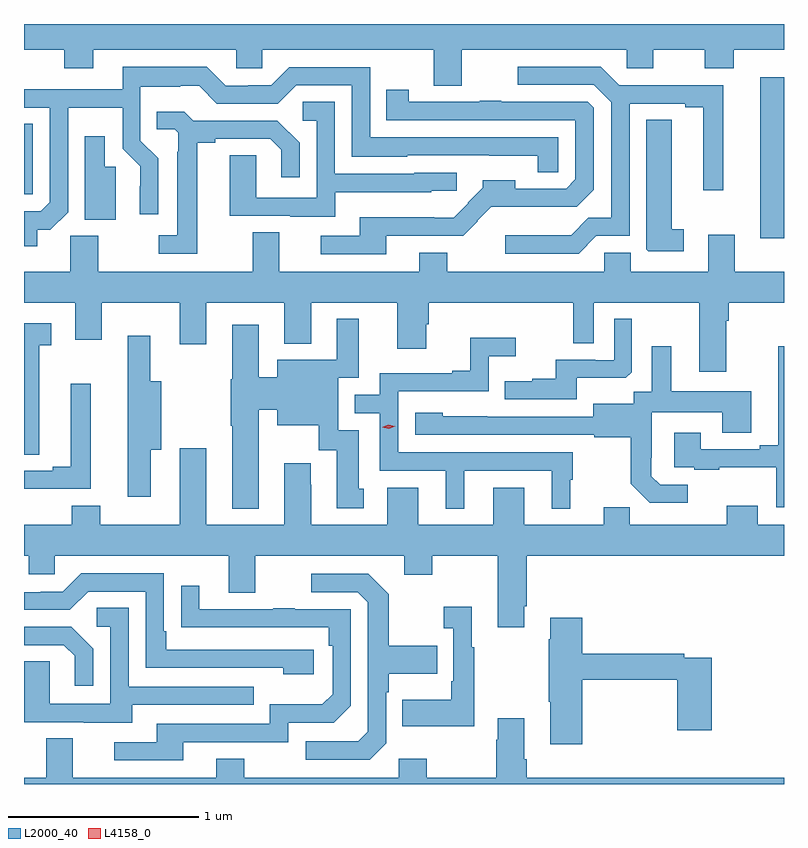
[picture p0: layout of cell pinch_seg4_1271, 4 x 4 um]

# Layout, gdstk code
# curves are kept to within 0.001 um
import gdstk
lib = gdstk.Library(unit=1e-6, precision=1e-09)
def R(c, l, rs):  # rectangles x0, y0, x1, y1
    for r in rs: c.add(gdstk.rectangle(r[:2], r[2:], *l))
def P(c, l, *ps):  # polygons
    for p in ps: c.add(gdstk.Polygon(p, *l))
L2000_40 = (2000, 40)
L4158_0 = (4158, 0)

pinch_seg4_1271 = lib.new_cell('pinch_seg4_1271')
R(pinch_seg4_1271, L2000_40, [(305.186,761.196,305.31,762.043), (301.31,761.427,301.357,761.798)])
P(pinch_seg4_1271, L2000_40, [(303.613,762.188),(304.482,762.188),(304.482,762.09),(304.621,762.09),(304.621,762.188),(304.892,762.188),(304.892,762.089),(305.045,762.089),(305.045,762.188),(305.31,762.188),(305.31,762.323),(301.31,762.323),(301.31,762.188),(301.523,762.188),(301.523,762.089),(301.675,762.089),(301.675,762.188),(302.427,762.188),(302.427,762.09),(302.565,762.09),(302.565,762.188),(303.466,762.188),(303.466,761.998),(303.613,761.998)],
  [(304.323,761.208),(304.497,761.208),(304.497,761.904),(304.79,761.904),(304.79,761.884),(304.886,761.884),(304.886,761.448),(304.99,761.448),(304.99,762),(304.444,762),(304.345,762.099),(303.909,762.099),(303.909,762.003),(304.308,762.003),(304.401,761.91),(304.401,761.303),(304.28,761.303),(304.189,761.212),(303.843,761.212),(303.843,761.115),(304.23,761.115)],
  [(301.381,761.239),(301.449,761.239),(301.542,761.331),(301.542,761.882),(301.83,761.882),(301.83,761.666),(301.922,761.574),(301.922,761.468),(301.92,761.468),(301.92,761.322),(302.016,761.322),(302.016,761.616),(301.923,761.709),(301.923,761.993),(302.132,761.993),(302.132,761.997),(302.232,761.997),(302.325,761.904),(302.646,761.904),(302.742,762),(303.036,762),(303.036,761.624),(303.327,761.624),(303.327,761.631),(304.014,761.63),(304.014,761.542),(304.122,761.542),(304.122,761.727),(303.132,761.727),(303.132,762.096),(302.706,762.096),(302.61,762),(302.49,762),(302.49,761.997),(302.373,761.997),(302.273,762.097),(301.829,762.097),(301.829,761.979),(301.31,761.979),(301.31,761.883),(301.446,761.883),(301.446,761.385),(301.398,761.337),(301.31,761.337),(301.31,761.154),(301.381,761.154)],
  [(303.217,761.208),(303.621,761.208),(303.697,761.285),(303.695,761.287),(303.769,761.361),(304.103,761.36),(304.103,761.362),(304.219,761.362),(304.308,761.451),(304.308,761.883),(304.278,761.913),(303.821,761.913),(303.821,761.918),(303.709,761.918),(303.709,761.913),(303.336,761.913),(303.336,761.977),(303.217,761.977),(303.217,761.817),(304.212,761.817),(304.212,761.505),(304.164,761.457),(303.895,761.457),(303.895,761.5),(303.724,761.5),(303.724,761.461),(303.645,761.382),(303.648,761.379),(303.572,761.303),(303.47,761.303),(303.47,761.305),(303.077,761.305),(303.077,761.208),(302.871,761.208),(302.871,761.112),(303.217,761.112)],
  [(302.947,761.438),(303.453,761.438),(303.453,761.445),(303.588,761.445),(303.588,761.541),(303.363,761.541),(303.363,761.535),(302.946,761.535),(302.946,761.915),(302.778,761.915),(302.778,761.814),(302.85,761.814),(302.85,761.409),(302.532,761.409),(302.532,761.633),(302.393,761.633),(302.393,761.313),(302.711,761.313),(302.711,761.309),(302.947,761.309)],
  [(302.221,761.698),(302.317,761.698),(302.317,761.718),(302.606,761.718),(302.663,761.661),(302.663,761.517),(302.76,761.517),(302.76,761.698),(302.644,761.814),(302.202,761.814),(302.154,761.861),(302.008,761.861),(302.008,761.769),(302.103,761.769),(302.121,761.751),(302.121,761.651),(302.117,761.651),(302.117,761.211),(302.019,761.211),(302.019,761.115),(302.221,761.115)],
  [(304.783,761.243),(304.72,761.243),(304.72,761.819),(304.586,761.819),(304.586,761.137),(304.596,761.127),(304.783,761.127)],
  [(301.792,761.571),(301.735,761.571),(301.735,761.731),(301.631,761.731),(301.631,761.293),(301.792,761.293)],
  [(303.537,761.119),(303.389,761.119),(303.389,761.02),(302.653,761.02),(302.653,761.228),(302.513,761.228),(302.513,761.02),(301.701,761.02),(301.701,761.208),(301.554,761.208),(301.554,761.02),(301.31,761.02),(301.31,760.856),(301.58,760.856),(301.58,760.662),(301.72,760.662),(301.72,760.856),(302.129,760.856),(302.129,760.638),(302.269,760.638),(302.269,760.856),(302.681,760.856),(302.681,760.64),(302.821,760.64),(302.821,760.856),(303.275,760.856),(303.275,760.614),(303.427,760.614),(303.427,760.743),(303.44,760.743),(303.44,760.856),(304.2,760.856),(304.2,760.642),(304.308,760.642),(304.308,760.856),(304.865,760.856),(304.865,760.494),(305.005,760.494),(305.005,760.76),(305.018,760.76),(305.018,760.856),(305.31,760.856),(305.31,761.02),(305.05,761.02),(305.05,761.215),(304.91,761.215),(304.91,761.02),(304.504,761.02),(304.504,761.118),(304.365,761.118),(304.365,761.02),(303.537,761.02)],
  [(304.219,760.46),(304.477,760.46),(304.509,760.491),(304.509,760.771),(304.416,760.771),(304.416,760.554),(304.316,760.554),(304.316,760.557),(304.109,760.557),(304.109,760.456),(303.985,760.456),(303.985,760.444),(303.841,760.444),(303.841,760.347),(304.219,760.347)],
  [(302.545,760.292),(302.642,760.292),(302.642,760.211),(302.861,760.211),(302.861,760.08),(302.957,760.08),(302.957,759.774),(303.097,759.774),(303.097,759.876),(303.073,759.876),(303.073,760.185),(302.964,760.185),(302.964,760.461),(303.073,760.461),(303.073,760.771),(302.957,760.771),(302.957,760.555),(302.642,760.555),(302.642,760.464),(302.545,760.464),(302.545,760.741),(302.405,760.741),(302.405,760.452),(302.398,760.452),(302.398,760.208),(302.405,760.208),(302.405,759.773),(302.545,759.773)],
  [(301.39,760.633),(301.453,760.633),(301.453,760.749),(301.31,760.749),(301.31,760.057),(301.39,760.057)],
  [(301.978,760.082),(302.032,760.082),(302.032,760.444),(301.975,760.444),(301.975,760.681),(301.856,760.681),(301.856,759.834),(301.978,759.834)],
  [(303.628,759.972),(304.088,759.972),(304.088,759.773),(304.186,759.773),(304.186,759.924),(304.198,759.924),(304.198,760.068),(303.279,760.068),(303.279,760.389),(303.756,760.389),(303.756,760.574),(303.898,760.574),(303.898,760.673),(303.658,760.673),(303.658,760.498),(303.563,760.498),(303.563,760.485),(303.183,760.485),(303.183,760.371),(303.05,760.371),(303.05,760.275),(303.183,760.275),(303.183,759.972),(303.53,759.972),(303.53,759.773),(303.628,759.773)],
  [(305.31,760.627),(305.279,760.627),(305.279,760.105),(305.183,760.105),(305.183,760.086),(304.873,760.086),(304.873,760.171),(304.733,760.171),(304.733,759.99),(304.837,759.99),(304.837,759.978),(304.969,759.978),(304.969,759.989),(305.268,759.989),(305.268,759.78),(305.31,759.78)],
  [(304.804,759.897),(304.659,759.897),(304.612,759.944),(304.612,760.039),(304.614,760.039),(304.614,760.28),(304.985,760.28),(304.985,760.171),(305.137,760.171),(305.137,760.39),(304.717,760.39),(304.717,760.627),(304.613,760.627),(304.613,760.388),(304.518,760.388),(304.518,760.324),(304.307,760.324),(304.307,760.257),(303.513,760.258),(303.513,760.276),(303.369,760.276),(303.369,760.161),(304.311,760.161),(304.311,760.149),(304.503,760.149),(304.503,759.903),(304.603,759.803),(304.804,759.803)],
  [(301.66,760.429),(301.556,760.429),(301.556,759.992),(301.46,759.992),(301.46,759.972),(301.31,759.972),(301.31,759.876),(301.66,759.876)],
  [(302.269,760.09),(302.129,760.09),(302.129,759.688),(301.71,759.688),(301.71,759.787),(301.562,759.787),(301.562,759.688),(301.31,759.688),(301.31,759.524),(301.335,759.524),(301.335,759.426),(301.473,759.426),(301.473,759.524),(302.387,759.524),(302.387,759.33),(302.527,759.33),(302.527,759.524),(303.311,759.524),(303.311,759.425),(303.459,759.425),(303.459,759.524),(303.803,759.524),(303.803,759.147),(303.943,759.147),(303.943,759.259),(303.956,759.259),(303.956,759.524),(305.31,759.524),(305.31,759.688),(305.173,759.688),(305.173,759.787),(305.009,759.787),(305.009,759.688),(304.499,759.688),(304.499,759.779),(304.361,759.779),(304.361,759.688),(303.943,759.688),(303.943,759.883),(303.779,759.883),(303.779,759.688),(303.385,759.688),(303.385,759.883),(303.221,759.883),(303.221,759.688),(302.821,759.688),(302.821,759.899),(302.818,759.899),(302.818,760.012),(302.681,760.012),(302.681,759.688),(302.269,759.688)],
  [(302.836,759.03),(302.059,759.03),(302.059,759.127),(302.046,759.127),(302.046,759.432),(301.611,759.432),(301.515,759.336),(301.397,759.336),(301.397,759.333),(301.31,759.333),(301.31,759.24),(301.551,759.24),(301.647,759.336),(301.95,759.336),(301.95,758.934),(302.675,758.934),(302.675,758.9),(302.836,758.9)],
  [(303.216,758.538),(303.216,758.807),(303.229,758.807),(303.229,758.903),(303.485,758.903),(303.485,759.051),(303.229,759.051),(303.229,759.323),(303.123,759.429),(302.823,759.429),(302.823,759.333),(303.066,759.333),(303.12,759.279),(303.12,758.598),(303.069,758.547),(302.793,758.547),(302.793,758.451),(303.129,758.451)],
  [(302.149,758.544),(302.7,758.544),(302.7,758.646),(302.94,758.646),(303.03,758.736),(303.03,759.243),(302.735,759.243),(302.735,759.248),(302.623,759.248),(302.623,759.243),(302.233,759.243),(302.233,759.367),(302.137,759.367),(302.137,759.148),(302.914,759.147),(302.914,759.05),(302.934,759.05),(302.934,758.796),(302.881,758.743),(302.604,758.743),(302.604,758.64),(302.009,758.64),(302.009,758.544),(301.785,758.544),(301.785,758.448),(302.149,758.448)],
  [(303.679,759.043),(303.667,759.043),(303.667,759.256),(303.519,759.256),(303.519,759.143),(303.57,759.143),(303.57,758.863),(303.558,758.863),(303.558,758.767),(303.301,758.767),(303.301,758.627),(303.679,758.627)],
  [(301.879,758.739),(302.519,758.739),(302.519,758.835),(301.86,758.835),(301.86,759.251),(301.692,759.251),(301.692,759.15),(301.764,759.15),(301.764,758.745),(301.446,758.745),(301.446,758.969),(301.31,758.969),(301.31,758.649),(301.625,758.649),(301.625,758.645),(301.879,758.645)],
  [(304.247,758.872),(304.748,758.872),(304.748,758.607),(304.931,758.607),(304.931,758.988),(304.784,758.988),(304.784,759.008),(304.247,759.008),(304.247,759.199),(304.079,759.199),(304.079,759.086),(304.072,759.086),(304.072,758.755),(304.079,758.755),(304.079,758.532),(304.247,758.532)],
  [(301.674,759.034),(301.558,759.15),(301.31,759.15),(301.31,759.054),(301.52,759.054),(301.577,758.997),(301.577,758.841),(301.674,758.841)],
  [(305.31,758.356),(303.956,758.356),(303.956,758.452),(303.943,758.452),(303.943,758.668),(303.803,758.668),(303.803,758.555),(303.796,758.555),(303.796,758.356),(303.429,758.356),(303.429,758.455),(303.282,758.455),(303.282,758.356),(302.469,758.356),(302.469,758.455),(302.321,758.455),(302.321,758.356),(301.567,758.356),(301.567,758.564),(301.427,758.564),(301.427,758.356),(301.31,758.356),(301.31,758.323),(305.31,758.323)])
P(pinch_seg4_1271, L4158_0, [(303.23,760.193),(303.195,760.2),(303.195,760.2),(303.195,760.2),(303.228,760.213),(303.263,760.206),(303.264,760.206),(303.263,760.205)])

lib.write_gds('pinch_seg4_1271.gds')
